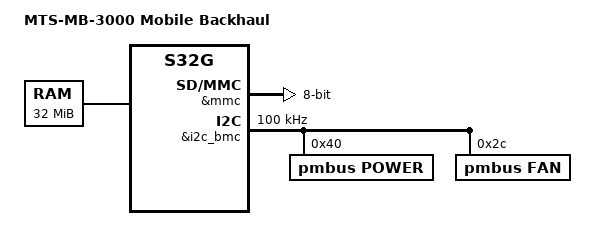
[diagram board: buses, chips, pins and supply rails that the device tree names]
/*
 * Device Tree for MTS-MB-3000 Mobile Backhaul
 * NXP S32G3 + Marvell 88Q5242
 */

/dts-v1/;
/include/ "nxp/s32g.dtsi"
/include/ "marvell/88q5242.dtsi"

/ {
    model = "MTS-MB-3000 Mobile Backhaul";
    compatible = "mts,mb3000", "nxp,s32g";

    chosen {
        bootargs = "console=ttyS0,115200n8 root=/dev/mmcblk0p2 rw";
        stdout-path = "serial:0";
    };

    memory {
        reg = <0x00000000 0x00000000 0x00000000 0x02000000>; /* 32MB base */
    };

    /* SoC */
    s32g: cpu@0 {
        compatible = "nxp,s32g3";
        num-cores = <8>;
        architecture = "arm64";
        clock-frequency = <2000000000>;
        status = "okay";
    };

    /* Ethernet switch */
    &switch {
        status = "okay";
        num-ports = <32>;
        max-speed = <10000000000>;
    };

    /* eMMC storage */
    &mmc {
        status = "okay";
        bus-width = <8>;
        max-frequency = <52000000>;
    };

    /* I2C for management */
    &i2c_bmc {
        status = "okay";
        clock-frequency = <100000>;

        power@40 {
            compatible = "pmbus,power";
            reg = <0x40>;
        };

        fan@2c {
            compatible = "pmbus,fan";
            reg = <0x2c>;
        };
    };

    /* PTP hardware timestamping */
    &ptp {
        status = "okay";
        clock-frequency = <125000000>;
    };

    /* SyncE */
    &sync {
        status = "okay";
        clock-frequency = <156250000>;
    };
};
